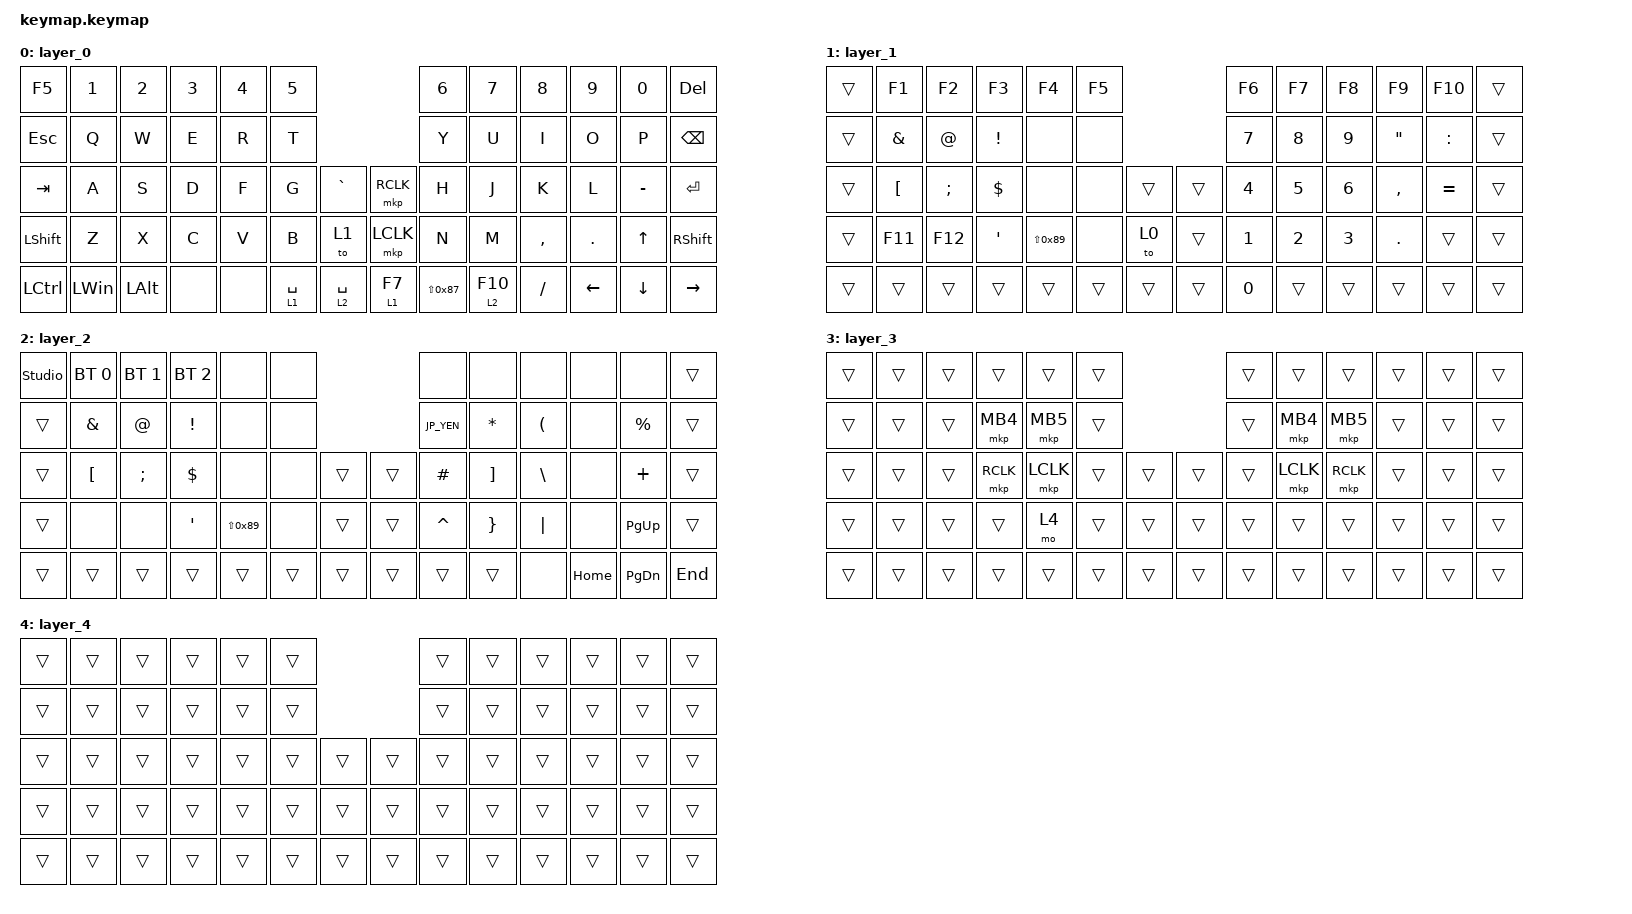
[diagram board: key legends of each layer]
#include <input/processors.dtsi>
#include <dt-bindings/zmk/input_transform.h>
#include <behaviors.dtsi>
#include <dt-bindings/zmk/bt.h>
#include <dt-bindings/zmk/keys.h>
#include <dt-bindings/zmk/outputs.h>
#include <dt-bindings/zmk/pointing.h>

// OS設定を日本語キーボードのまま使用するための変換定義

#define JP_DQUOTE       AT                // "
#define JP_AMPERSAND    CARET             // &
#define JP_QUOTE        AMPERSAND         // '
#define JP_EQUAL        UNDER             // =
#define JP_CARET        EQUAL             // ^
#define JP_YEN          0x89              // ¥
#define JP_PLUS         COLON             // +
#define JP_TILDE        PLUS              // ~
#define JP_PIPE         LS(0x89)          // |
#define JP_AT           LEFT_BRACKET      // @
#define JP_COLON        SINGLE_QUOTE      // :
#define JP_ASTERISK     DOUBLE_QUOTES     // *
#define JP_BACKQUOTE    LEFT_BRACE        // `
#define JP_UNDERSCORE   LS(0x87)          // _
#define JP_LBRACKET     RIGHT_BRACKET     // [
#define JP_RBRACKET     BACKSLASH         // ]
#define JP_LPAREN       ASTERISK          // (
#define JP_RPAREN       LEFT_PARENTHESIS  // )
#define JP_LBRACE       RIGHT_BRACE       // {
#define JP_RBRACE       PIPE              // }
#define JP_KANA         LANGUAGE_1        // かな
#define JP_EISU         LANGUAGE_2        // 英数
#define JP_HANZEN       GRAVE             // 半角/全角

/* --- オートマウス発動条件の調整 ---
 * 打鍵の振動でボールが微動 -> AML誤発動 -> 次のk/jがクリック化、を防ぐ。
 * require-prior-idle-ms = 直前の打鍵からこの時間内はAMLを出さない(タイピング保護ガード)。
 * 150 は短すぎて打鍵直後の振動で即発動していた -> 350 に延長(2026-06-16 修正)。
 *   ・打鍵中はAMLが出ない(誤クリック消滅)
 *   ・クリックしたいときは指を一瞬止めてからボールを動かせばAMLが出る
 *   ・まだ誤発動するなら 400-500 へ、AMLが出づらすぎるなら 250 へ微調整。 */

&zip_temp_layer { require-prior-idle-ms = <350>; };

/* --- トラックボールのリスナーに input processor を追加 --- */

&pointing_listener {
    /* 動かす -> layer 3(クリック層)を一時有効化、0.8秒無操作で解除
     * 先頭に zip_xy_transform(X|Y INVERT) を復活 = sekigon board overlay のトラボ向き補正。
     * これを入れないと生センサ向き=上下左右とも反転する(2026-06-16 修正)。
     * 末尾の 800 = AML保持ms。ボール停止後この時間で通常層へ復帰。
     */
    input-processors = <&zip_xy_transform (INPUT_TRANSFORM_X_INVERT | INPUT_TRANSFORM_Y_INVERT) &zip_temp_layer 3 800>;

    /* layer 4 が有効な間はボールをスクロールに変換
     * 注: リスナーが先にX|Y両反転(上のinput-processors)してからここに来る。
     *   縦スクロール(Y)はそれでOKだったが、横スクロール(X=左右)が逆だった。
     *   -> スクロール経路でだけ X をもう一度反転して打ち消す(縦・ポインタ移動に影響なし)。
     *   この zip_xy_transform は zip_xy_to_scroll_mapper の前段に置く(2026-06-16 修正)。
     *   もし縦まで逆になったら X_INVERT を Y_INVERT に替える(=反転の追加/置換セマンティクスが逆だった場合)。 */
    scroller {
        layers = <4>;
        input-processors = <&zip_xy_transform (INPUT_TRANSFORM_X_INVERT) &zip_xy_to_scroll_mapper>;
        process-next;
    };
};

/ {
    combos {
        compatible = "zmk,combos";

        bt_clear {
            bindings = <&bt BT_CLR>;
            key-positions = <28 29>;
            layers = <2>;
        };
    };

    keymap {
        compatible = "zmk,keymap";

        /* ============ Layer 0: ベース ============ */
        layer_0 {
            bindings = <
&kp F5     &kp N1        &kp N2        &kp N3  &kp N4  &kp N5                                   &kp N6             &kp N7     &kp N8     &kp N9    &kp N0     &kp DEL
&kp ESC    &kp Q         &kp W         &kp E   &kp R   &kp T                                    &kp Y              &kp U      &kp I      &kp O     &kp P      &kp BSPC
&kp TAB    &kp A         &kp S         &kp D   &kp F   &kp G        &kp JP_HANZEN    &mkp RCLK  &kp H              &kp J      &kp K      &kp L     &kp MINUS  &kp ENTER
&kp LSHFT  &kp Z         &kp X         &kp C   &kp V   &kp B        &to 1            &mkp LCLK  &kp N              &kp M      &kp COMMA  &kp DOT   &kp UP     &kp RSHFT
&kp LCTRL  &kp LEFT_WIN  &kp LEFT_ALT  &none   &none   &lt 1 SPACE  &lt 2 SPACE      &lt 1 F7   &kp JP_UNDERSCORE  &lt 2 F10  &kp SLASH  &kp LEFT  &kp DOWN   &kp RIGHT
            >;
        };

       /* ============ Layer 1: 右手テンキー、記号系 ============ */
       layer_1 {
            bindings = <
&trans  &kp F1        &kp F2         &kp F3           &kp F4       &kp F5                   &kp F6        &kp F7        &kp F8        &kp F9           &kp F10       &trans
&trans  &kp JP_QUOTE  &kp JP_DQUOTE  &kp EXCLAMATION  &none        &none                    &kp NUMBER_7  &kp NUMBER_8  &kp NUMBER_9  &kp JP_ASTERISK  &kp JP_PLUS   &trans
&trans  &kp JP_AT     &kp SEMICOLON  &kp DOLLAR       &none        &none    &trans  &trans  &kp NUMBER_4  &kp NUMBER_5  &kp NUMBER_6  &kp COMMA        &kp JP_CARET  &trans
&trans  &kp F11       &kp F12        &kp JP_COLON     &kp JP_PIPE  &none    &to 0   &trans  &kp NUMBER_1  &kp NUMBER_2  &kp NUMBER_3  &kp PERIOD       &trans        &trans
&trans  &trans        &trans         &trans           &trans       &trans   &trans  &trans  &kp NUMBER_0  &trans        &trans        &trans           &trans        &trans
            >;
        };

        /* ============ Layer 2: 記号系 ============ */
        layer_2 {
            bindings = <
&studio_unlock  &bt BT_SEL 0  &bt BT_SEL 1   &bt BT_SEL 2     &none        &none                   &none             &none            &none            &none     &none          &trans
&trans  &kp JP_QUOTE  &kp JP_DQUOTE  &kp EXCLAMATION  &none        &none                   &kp JP_YEN        &kp JP_LPAREN    &kp JP_RPAREN    &none     &kp PERCENT    &trans
&trans  &kp JP_AT     &kp SEMICOLON  &kp DOLLAR       &none        &none   &trans  &trans  &kp HASH          &kp JP_LBRACKET  &kp JP_RBRACKET  &none     &kp JP_TILDE   &trans
&trans  &none         &none          &kp JP_COLON     &kp JP_PIPE  &none   &trans  &trans  &kp JP_AMPERSAND  &kp JP_LBRACE    &kp JP_RBRACE    &none     &kp PAGE_UP    &trans
&trans  &trans        &trans         &trans           &trans       &trans  &trans  &trans  &trans            &trans           &none            &kp HOME  &kp PAGE_DOWN  &kp END
            >;
        };

        /* ============ Layer 3: マウス操作系 ============ */
        layer_3 {
            bindings = <
&trans  &trans  &trans  &trans     &trans     &trans                  &trans  &trans     &trans     &trans  &trans  &trans
&trans  &trans  &trans  &mkp MB4   &mkp MB5   &trans                  &trans  &mkp MB4   &mkp MB5   &trans  &trans  &trans
&trans  &trans  &trans  &mkp RCLK  &mkp LCLK  &trans  &trans  &trans  &trans  &mkp LCLK  &mkp RCLK  &trans  &trans  &trans
&trans  &trans  &trans  &trans     &mo 4     &trans  &trans  &trans  &trans  &trans     &trans     &trans  &trans  &trans
&trans  &trans  &trans  &trans     &trans     &trans  &trans  &trans  &trans  &trans     &trans     &trans  &trans  &trans
            >;
        };

        /* ============ Layer 4: トラックボールスクロール ============ */
        layer_4 {
            bindings = <
&trans  &trans  &trans  &trans  &trans  &trans                  &trans  &trans  &trans  &trans  &trans  &trans
&trans  &trans  &trans  &trans  &trans  &trans                  &trans  &trans  &trans  &trans  &trans  &trans
&trans  &trans  &trans  &trans  &trans  &trans  &trans  &trans  &trans  &trans  &trans  &trans  &trans  &trans
&trans  &trans  &trans  &trans  &trans  &trans  &trans  &trans  &trans  &trans  &trans  &trans  &trans  &trans
&trans  &trans  &trans  &trans  &trans  &trans  &trans  &trans  &trans  &trans  &trans  &trans  &trans  &trans
            >;
        };
    };
};
